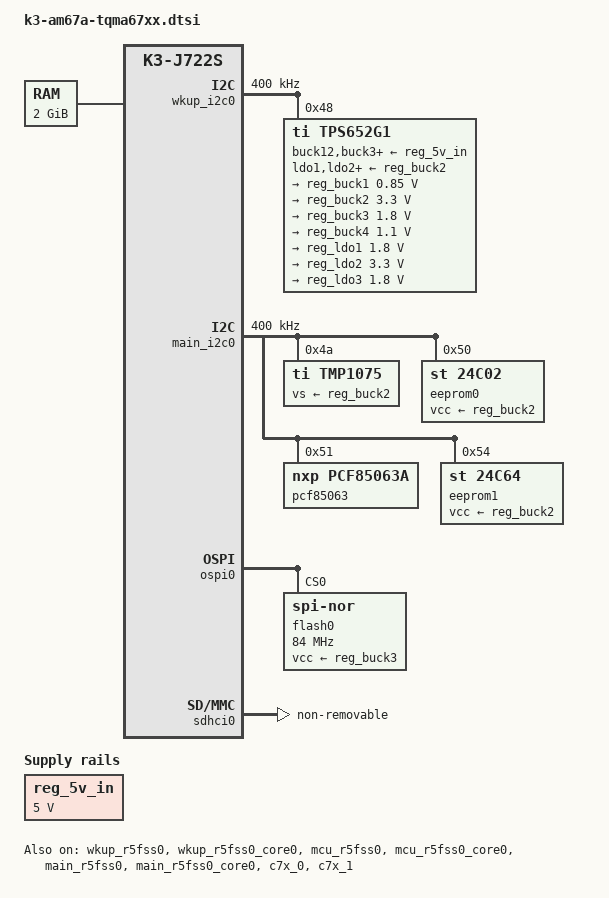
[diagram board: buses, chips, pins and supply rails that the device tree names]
// SPDX-License-Identifier: GPL-2.0-only OR MIT
/*
 * Copyright (C) 2024 Texas Instruments Incorporated - https://www.ti.com/
 * Copyright (c) 2025-2026 TQ-Systems GmbH <linux@ew.tq-group.com>, D-82229 Seefeld, Germany.
 * Author: Nora Schiffer
 */

#include "k3-j722s.dtsi"

/ {
	aliases {
		i2c0 = &wkup_i2c0;
		i2c1 = &main_i2c0;
		mmc0 = &sdhci0;
		spi0 = &ospi0;
	};

	memory@80000000 {
		/* 2G RAM */
		bootph-pre-ram;
		reg = <0x00000000 0x80000000 0x00000000 0x80000000>;
		device_type = "memory";
	};

	reserved_memory: reserved-memory {
		#address-cells = <2>;
		#size-cells = <2>;
		ranges;

		secure_tfa_ddr: tfa@9e780000 {
			reg = <0x00 0x9e780000 0x00 0x80000>;
			no-map;
		};

		secure_ddr: optee@9e800000 {
			reg = <0x00 0x9e800000 0x00 0x01800000>;
			no-map;
		};

		wkup_r5fss0_core0_dma_memory_region: r5f-dma-memory@a0000000 {
			compatible = "shared-dma-pool";
			reg = <0x00 0xa0000000 0x00 0x100000>;
			no-map;
		};

		wkup_r5fss0_core0_memory_region: r5f-memory@a0100000 {
			compatible = "shared-dma-pool";
			reg = <0x00 0xa0100000 0x00 0xf00000>;
			no-map;
		};

		mcu_r5fss0_core0_dma_memory_region: mcu-r5fss-dma-memory-region@a1000000 {
			compatible = "shared-dma-pool";
			reg = <0x00 0xa1000000 0x00 0x100000>;
			no-map;
		};

		mcu_r5fss0_core0_memory_region: mcu-r5fss-memory-region@a1100000 {
			compatible = "shared-dma-pool";
			reg = <0x00 0xa1100000 0x00 0xf00000>;
			no-map;
		};

		main_r5fss0_core0_dma_memory_region: main-r5fss-dma-memory-region@a2000000 {
			compatible = "shared-dma-pool";
			reg = <0x00 0xa2000000 0x00 0x100000>;
			no-map;
		};

		main_r5fss0_core0_memory_region: main-r5fss-memory-region@a2100000 {
			compatible = "shared-dma-pool";
			reg = <0x00 0xa2100000 0x00 0xf00000>;
			no-map;
		};

		c7x_0_dma_memory_region: c7x-dma-memory@a3000000 {
			compatible = "shared-dma-pool";
			reg = <0x00 0xa3000000 0x00 0x100000>;
			no-map;
		};

		c7x_0_memory_region: c7x-memory@a3100000 {
			compatible = "shared-dma-pool";
			reg = <0x00 0xa3100000 0x00 0xf00000>;
			no-map;
		};

		c7x_1_dma_memory_region: c7x-dma-memory@a4000000 {
			compatible = "shared-dma-pool";
			reg = <0x00 0xa4000000 0x00 0x100000>;
			no-map;
		};

		c7x_1_memory_region: c7x-memory@a4100000 {
			compatible = "shared-dma-pool";
			reg = <0x00 0xa4100000 0x00 0xf00000>;
			no-map;
		};

		rtos_ipc_memory_region: ipc-memories@a5000000 {
			reg = <0x00 0xa5000000 0x00 0x1c00000>;
			alignment = <0x1000>;
			no-map;
		};
	};

	reg_5v_in: regulator-5v-in {
		bootph-all;
		compatible = "regulator-fixed";
		regulator-always-on;
		regulator-boot-on;
		regulator-min-microvolt = <5000000>;
		regulator-max-microvolt = <5000000>;
		regulator-name = "V_5V_IN";
	};

	reg_vddshv5: regulator-vddshv5 {
		compatible = "regulator-gpio";
		regulator-name = "V_VDDSHV5";
		regulator-min-microvolt = <1800000>;
		regulator-max-microvolt = <3300000>;
		regulator-boot-on;
		vin-supply = <&reg_ldo2>;
		states = <1800000 0x0>,
			 <3300000 0x1>;
		status = "disabled";
	};

};

&wkup_i2c0 {
	bootph-all;
	pinctrl-names = "default";
	pinctrl-0 = <&wkup_i2c0_pins>;
	clock-frequency = <400000>;
	status = "okay";

	tps652g1: pmic@48 {
		compatible = "ti,tps652g1";
		reg = <0x48>;
		pinctrl-names = "default";
		pinctrl-0 = <&pmic_irq_pins>;
		interrupt-parent = <&gic500>;
		interrupts = <GIC_SPI 224 IRQ_TYPE_LEVEL_HIGH>;
		ti,primary-pmic;

		gpio-controller;
		#gpio-cells = <2>;

		buck12-supply = <&reg_5v_in>;
		buck3-supply = <&reg_5v_in>;
		buck4-supply = <&reg_5v_in>;

		ldo1-supply = <&reg_buck2>;
		ldo2-supply = <&reg_buck2>;
		ldo3-supply = <&reg_buck2>;

		regulators {
			reg_buck1: buck1 {
				bootph-all;
				regulator-name = "V_0V85";
				regulator-min-microvolt = <850000>;
				regulator-max-microvolt = <850000>;
				regulator-boot-on;
				regulator-always-on;
			};

			reg_buck2: buck2 {
				regulator-name = "V_3V3";
				regulator-min-microvolt = <3300000>;
				regulator-max-microvolt = <3300000>;
				regulator-boot-on;
				regulator-always-on;
			};

			reg_buck3: buck3 {
				regulator-name = "V_1V8";
				regulator-min-microvolt = <1800000>;
				regulator-max-microvolt = <1800000>;
				regulator-boot-on;
				regulator-always-on;
			};

			reg_buck4: buck4 {
				regulator-name = "V_1V1";
				regulator-min-microvolt = <1100000>;
				regulator-max-microvolt = <1100000>;
				regulator-boot-on;
				regulator-always-on;
			};

			reg_ldo1: ldo1 {
				regulator-name = "V_1V8A_PLL";
				regulator-min-microvolt = <1800000>;
				regulator-max-microvolt = <1800000>;
				regulator-boot-on;
				regulator-always-on;
			};

			/* Actual voltage of LDO2 is controlled by GPIO, see reg_vddshv5 */
			reg_ldo2: ldo2 {
				regulator-name = "V_VDDSHV5_3V3";
				regulator-min-microvolt = <3300000>;
				regulator-max-microvolt = <3300000>;
				regulator-boot-on;
				regulator-always-on;
			};

			reg_ldo3: ldo3 {
				regulator-name = "V_1V8A";
				regulator-min-microvolt = <1800000>;
				regulator-max-microvolt = <1800000>;
				regulator-boot-on;
				regulator-always-on;
			};
	       };
	};
};

&main_i2c0 {
	bootph-pre-ram;
	pinctrl-names = "default";
	pinctrl-0 = <&main_i2c0_pins>;
	clock-frequency = <400000>;
	status = "okay";

	tmp1075: temperature-sensor@4a {
		compatible = "ti,tmp1075";
		reg = <0x4a>;
		vs-supply = <&reg_buck2>;
	};

	eeprom0: eeprom@50 {
		bootph-pre-ram;
		compatible = "st,24c02", "atmel,24c02";
		reg = <0x50>;
		pagesize = <16>;
		read-only;
		vcc-supply = <&reg_buck2>;
	};

	pcf85063: rtc@51 {
		compatible = "nxp,pcf85063a";
		reg = <0x51>;
		quartz-load-femtofarads = <12500>;
	};

	eeprom1: eeprom@54 {
		compatible = "st,24c64", "atmel,24c64";
		reg = <0x54>;
		pagesize = <32>;
		vcc-supply = <&reg_buck2>;
	};
};

&mailbox0_cluster0 {
	status = "okay";

	mbox_wkup_r5_0: mbox-wkup-r5-0 {
		ti,mbox-rx = <0 0 0>;
		ti,mbox-tx = <1 0 0>;
	};
};

&mailbox0_cluster1 {
	status = "okay";

	mbox_mcu_r5_0: mbox-mcu-r5-0 {
		ti,mbox-rx = <0 0 0>;
		ti,mbox-tx = <1 0 0>;
	};
};

&mailbox0_cluster2 {
	status = "okay";

	mbox_c7x_0: mbox-c7x-0 {
		ti,mbox-rx = <0 0 0>;
		ti,mbox-tx = <1 0 0>;
	};
};

&mailbox0_cluster3 {
	status = "okay";

	mbox_main_r5_0: mbox-main-r5-0 {
		ti,mbox-rx = <0 0 0>;
		ti,mbox-tx = <1 0 0>;
	};

	mbox_c7x_1: mbox-c7x-1 {
		ti,mbox-rx = <2 0 0>;
		ti,mbox-tx = <3 0 0>;
	};
};

/* Timers are used by Remoteproc firmware */
&main_timer0 {
	status = "reserved";
};

&main_timer1 {
	status = "reserved";
};

&main_timer2 {
	status = "reserved";
};

&wkup_r5fss0 {
	status = "okay";
};

&wkup_r5fss0_core0 {
	mboxes = <&mailbox0_cluster0 &mbox_wkup_r5_0>;
	memory-region = <&wkup_r5fss0_core0_dma_memory_region>,
			<&wkup_r5fss0_core0_memory_region>;
	status = "okay";
};

&mcu_r5fss0 {
	status = "okay";
};

&mcu_r5fss0_core0 {
	mboxes = <&mailbox0_cluster1 &mbox_mcu_r5_0>;
	memory-region = <&mcu_r5fss0_core0_dma_memory_region>,
			<&mcu_r5fss0_core0_memory_region>;
	status = "okay";
};

&main_r5fss0 {
	status = "okay";
};

&main_r5fss0_core0 {
	mboxes = <&mailbox0_cluster3 &mbox_main_r5_0>;
	memory-region = <&main_r5fss0_core0_dma_memory_region>,
			<&main_r5fss0_core0_memory_region>;
	status = "okay";
};

&c7x_0 {
	mboxes = <&mailbox0_cluster2 &mbox_c7x_0>;
	memory-region = <&c7x_0_dma_memory_region>,
			<&c7x_0_memory_region>;
	status = "okay";
};

&c7x_1 {
	mboxes = <&mailbox0_cluster3 &mbox_c7x_1>;
	memory-region = <&c7x_1_dma_memory_region>,
			<&c7x_1_memory_region>;
	status = "okay";
};


&ospi0 {
	pinctrl-names = "default";
	pinctrl-0 = <&ospi0_pins>;
	status = "okay";

	flash0: flash@0 {
		bootph-all;
		compatible = "jedec,spi-nor";
		reg = <0x0>;
		spi-tx-bus-width = <8>;
		spi-rx-bus-width = <8>;
		spi-max-frequency = <84000000>;
		vcc-supply = <&reg_buck3>;
		cdns,tshsl-ns = <60>;
		cdns,tsd2d-ns = <60>;
		cdns,tchsh-ns = <60>;
		cdns,tslch-ns = <60>;
		cdns,read-delay = <2>;

		partitions {
			compatible = "fixed-partitions";
			#address-cells = <1>;
			#size-cells = <1>;

			/* Filled by bootloader */
		};
	};

};

&sdhci0 {
	bootph-all;
	disable-wp;
	no-sd;
	no-sdio;
	non-removable;
	ti,driver-strength-ohm = <50>;
	status = "okay";
};

&main_pmx0 {
	main_i2c0_pins: main-i2c0-pins {
		bootph-all;
		pinctrl-single,pins = <
			J722S_IOPAD(0x01e0, PIN_INPUT, 0) /* (D23) I2C0_SCL */
			J722S_IOPAD(0x01e4, PIN_INPUT, 0) /* (B22) I2C0_SDA */
		>;
	};

	ospi0_pins: ospi0-pins {
		bootph-all;
		pinctrl-single,pins = <
			J722S_IOPAD(0x0000, PIN_OUTPUT, 0) /* (L24) OSPI0_CLK */
			J722S_IOPAD(0x002c, PIN_OUTPUT, 0) /* (K26) OSPI0_CSn0 */
			J722S_IOPAD(0x000c, PIN_INPUT, 0) /* (K27) OSPI0_D0 */
			J722S_IOPAD(0x0010, PIN_INPUT, 0) /* (L27) OSPI0_D1 */
			J722S_IOPAD(0x0014, PIN_INPUT, 0) /* (L26) OSPI0_D2 */
			J722S_IOPAD(0x0018, PIN_INPUT, 0) /* (L25) OSPI0_D3 */
			J722S_IOPAD(0x001c, PIN_INPUT, 0) /* (L21) OSPI0_D4 */
			J722S_IOPAD(0x0020, PIN_INPUT, 0) /* (M26) OSPI0_D5 */
			J722S_IOPAD(0x0024, PIN_INPUT, 0) /* (N27) OSPI0_D6 */
			J722S_IOPAD(0x0028, PIN_INPUT, 0) /* (M27) OSPI0_D7 */
			J722S_IOPAD(0x0008, PIN_INPUT, 0) /* (L22) OSPI0_DQS */
		>;
	};

	pmic_irq_pins: pmic-irq-pins {
		pinctrl-single,pins = <
			J722S_IOPAD(0x01f4, PIN_INPUT, 0) /* (B23) EXTINTn */
		>;
	};
};

&mcu_pmx0 {
	wkup_i2c0_pins: wkup-i2c0-pins {
		bootph-all;
		pinctrl-single,pins = <
			J722S_MCU_IOPAD(0x004c, PIN_INPUT, 0)	/* (B9) WKUP_I2C0_SCL */
			J722S_MCU_IOPAD(0x0050, PIN_INPUT, 0)	/* (D11) WKUP_I2C1_SDA */
		>;
	};
};
